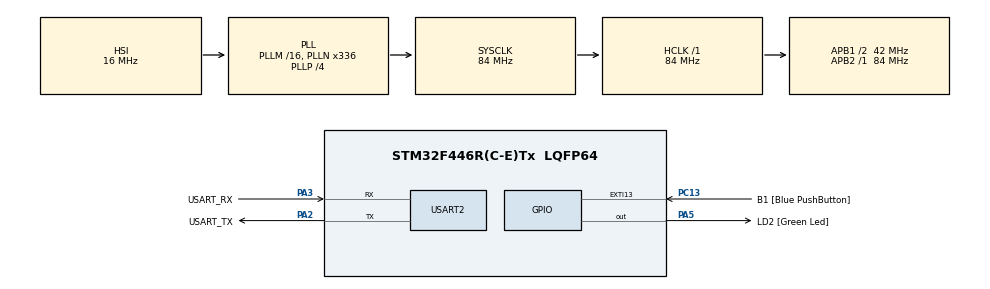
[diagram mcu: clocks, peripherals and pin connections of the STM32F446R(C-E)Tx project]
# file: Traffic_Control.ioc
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Mcu.Family=STM32F4
Mcu.Name=STM32F446R(C-E)Tx
Mcu.Package=LQFP64
NVIC.PriorityGroup=NVIC_PRIORITYGROUP_0
PA13.GPIO_Label=TMS
PA13.Mode=Serial_Wire
PA13.Signal=SYS_JTMS-SWDIO
PA14.GPIO_Label=TCK
PA14.Mode=Serial_Wire
PA14.Signal=SYS_JTCK-SWCLK
PA2.GPIO_Label=USART_TX
PA2.Mode=Asynchronous
PA2.Signal=USART2_TX
PA3.GPIO_Label=USART_RX
PA3.Mode=Asynchronous
PA3.Signal=USART2_RX
PA5.GPIO_Label=LD2 [Green Led]
PA5.Signal=GPIO_Output
PB3.GPIO_Label=SWO
PB3.Signal=SYS_JTDO-SWO
PC13.GPIO_Label=B1 [Blue PushButton]
PC13.GPIO_ModeDefaultEXTI=GPIO_MODE_IT_FALLING
PC13.Signal=GPXTI13
PC14-OSC32_IN.Mode=LSE-External-Oscillator
PC14-OSC32_IN.Signal=RCC_OSC32_IN
PC15-OSC32_OUT.Mode=LSE-External-Oscillator
PC15-OSC32_OUT.Signal=RCC_OSC32_OUT
PH0-OSC_IN.Mode=HSE-External-Oscillator
PH0-OSC_IN.Signal=RCC_OSC_IN
PH1-OSC_OUT.Mode=HSE-External-Oscillator
PH1-OSC_OUT.Signal=RCC_OSC_OUT
ProjectManager.HeapSize=0x200
ProjectManager.StackSize=0x400
ProjectManager.TargetToolchain=STM32CubeIDE
RCC.48MHZClocksFreq_Value=84000000
RCC.AHBFreq_Value=84000000
RCC.APB1CLKDivider=RCC_HCLK_DIV2
RCC.APB1Freq_Value=42000000
RCC.APB1TimFreq_Value=84000000
RCC.APB2Freq_Value=84000000
RCC.APB2TimFreq_Value=84000000
RCC.CortexFreq_Value=84000000
RCC.FLatency-AdvancedSettings=FLASH_LATENCY_2
RCC.HCLKFreq_Value=84000000
RCC.HSE_VALUE=8000000
RCC.HSI_VALUE=16000000
RCC.PLLN=336
RCC.PLLP=RCC_PLLP_DIV4
RCC.SYSCLKFreq_VALUE=84000000
RCC.SYSCLKSource=RCC_SYSCLKSOURCE_PLLCLK
RCC.USBFreq_Value=168000000
RCC.VCOOutputFreq_Value=336000000
USART2.VirtualMode=VM_ASYNC
board=NUCLEO-F446RE

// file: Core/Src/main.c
/* USER CODE BEGIN Header */
/**
  ******************************************************************************
  * @file           : main.c
  * @brief          : Main program body
  ******************************************************************************
  * @attention
  *
  * Copyright (c) 2025 STMicroelectronics.
  * All rights reserved.
  *
  * This software is licensed under terms that can be found in the LICENSE file
  * in the root directory of this software component.
  * If no LICENSE file comes with this software, it is provided AS-IS.
  *
  ******************************************************************************
  */
/* USER CODE END Header */
#include "main.h"
#include <stdbool.h>
#include <stm32f4xx.h>

UART_HandleTypeDef huart2;

void SystemClock_Config(void);
static void MX_GPIO_Init(void);
static void MX_USART2_UART_Init(void);

void TrafficLight_Control(void);
void Set_Lights_Direction(uint8_t Count, GPIO_PinState red, GPIO_PinState yellow, GPIO_PinState green);
void Light_Sequency(uint8_t Count, uint32_t GreenDelayTime);
/* USER CODE BEGIN PFP */
uint16_t redPins[4]    			= {TL_Pin_Red_1, TL_Pin_Red_2, TL_Pin_Red_3, TL_Pin_Red_4};
uint16_t yellowPins[4] 			= {TL_Pin_Yellow_1, TL_Pin_Yellow_2, TL_Pin_Yellow_3, TL_Pin_Yellow_4};
uint16_t greenPins[4]  			= {TL_Pin_Green_1, TL_Pin_Green_2, TL_Pin_Green_3, TL_Pin_Green_4};
uint16_t sensor1Pins[4] 		= {IR_Sensor1_Pin_1, IR_Sensor1_Pin_2, IR_Sensor1_Pin_3, IR_Sensor1_Pin_4};
uint16_t sensor2Pins[4] 		= {IR_Sensor2_Pin_1, IR_Sensor2_Pin_2, IR_Sensor2_Pin_3, IR_Sensor2_Pin_4};
uint8_t starvation[4] 			= {0, 0, 0, 0};          // For S, N, E, W
uint8_t starvationResetActive 	= 0;    // Flag for forced serve mode
uint32_t GreenDelayTime			= 0;
uint8_t Count					= 0;
uint8_t u8IRDetected		 	= 0;
uint8_t u8ActualCount			= 0;
bool bStarvation				= false;
uint8_t STARVATION_THRESHOLD 	= 3;
uint32_t u32LONGBLINKING	  	= 3000; //30000 in real case
uint32_t u32SHORTBLINKING	  	= 1500; //150000 in real case
uint32_t u32YellowDelayTime		= 2000;
/* USER CODE END PFP */

int main(void)
{

  /* MCU Configuration--------------------------------------------------------*/

  /* Reset of all peripherals, Initializes the Flash interface and the Systick. */
  HAL_Init();

  /* Configure the system clock */
  SystemClock_Config();

  /* Initialize all configured peripherals */
  MX_GPIO_Init();
  MX_USART2_UART_Init();

  /* Infinite loop */
  /* USER CODE BEGIN WHILE */
  while (1)
  {
	  TrafficLight_Control(); // run selected traffic light logic
  }

}
  /* USER CODE END 3 */

//////////////////////////////////////////////////////////////////////////////////////////////////////////
void Set_Lights_Direction(uint8_t Count, GPIO_PinState red, GPIO_PinState yellow, GPIO_PinState green)
{
	if(red == GPIO_PIN_RESET)
	{
		GPIOC->ODR &= ~redPins[Count];
	}
	else if(red == GPIO_PIN_SET)
	{
		GPIOC->ODR |= redPins[Count];
	}

	if(yellow == GPIO_PIN_RESET)
	{
		GPIOC->ODR &= ~yellowPins[Count];
	}
	else if(yellow == GPIO_PIN_SET)
	{
		GPIOC->ODR |= yellowPins[Count];
	}

	if(green == GPIO_PIN_RESET)
	{
		GPIOC->ODR &= ~greenPins[Count];
	}
	else if(green == GPIO_PIN_SET)
	{
		GPIOC->ODR |= greenPins[Count];
	}
}

void Light_Sequency(uint8_t Count, uint32_t GreenDelayTime)
{
	Set_Lights_Direction(Count, GPIO_PIN_RESET, GPIO_PIN_RESET, GPIO_PIN_RESET);
	Set_Lights_Direction(Count, GPIO_PIN_RESET, GPIO_PIN_RESET, GPIO_PIN_SET); // Green
	HAL_Delay(GreenDelayTime);

	Set_Lights_Direction(Count, GPIO_PIN_RESET, GPIO_PIN_SET, GPIO_PIN_RESET); // Yellow
	HAL_Delay(u32YellowDelayTime);

	Set_Lights_Direction(Count, GPIO_PIN_SET, GPIO_PIN_RESET, GPIO_PIN_RESET); // Red
	HAL_Delay(u32YellowDelayTime);

	starvation[Count] = starvation[Count] + 1;		// Increase starvation value for this direction
}

void TrafficLight_Control(void)
{
	GPIO_PinState s1 = GPIOB->IDR & sensor1Pins[Count];
	GPIO_PinState s2 = GPIOB->IDR & sensor2Pins[Count];

	if(bStarvation == true)
	{
		if(u8ActualCount == Count)
		{
			for (int i = 0; i < 4; i++)
			{
				starvation[i] = 0;
			}
			bStarvation = false;
		}
		else
		{
			if(s1 == GPIO_PIN_RESET && s2 == GPIO_PIN_RESET)
			{
				Light_Sequency(Count,u32LONGBLINKING);
			}

			else
			{
				Light_Sequency(Count,u32SHORTBLINKING);
			}
		}
	}
	else
	{
		// Check if at least one of first sensors is active
		for (int i = 0; i < 4; i++)
		{
			if ((GPIOB->IDR & sensor1Pins[i]) == GPIO_PIN_RESET ||
					(GPIOB->IDR & sensor2Pins[i]) == GPIO_PIN_RESET)
			{
				u8IRDetected = u8IRDetected + 1;
			}
		}

		// All first sensors inactive → simple 15s
		if (u8IRDetected == 0)
		{
			Light_Sequency(Count,u32SHORTBLINKING);
		}

//		else if (u8IRDetected == 4)
//		{
//			// All first sensors active → check second sensor
//			if (s2 == GPIO_PIN_RESET)
//			{
//				Light_Sequency(Count,u32LONGBLINKING);
//			}
//
//			else
//			{
//				Light_Sequency(Count,u32SHORTBLINKING);
//			}
//		}

		// Condition: 1–3 first sensors active
		else
		{
			if (s1 == GPIO_PIN_RESET && s2 == GPIO_PIN_RESET)
			{
				Light_Sequency(Count,u32LONGBLINKING);
				if(starvation[Count] >= STARVATION_THRESHOLD)
				{
					bStarvation = true;
					u8ActualCount = Count;
				}
			}

			else if (s1 == GPIO_PIN_RESET || s2 == GPIO_PIN_RESET)
			{

				Light_Sequency(Count,u32SHORTBLINKING);
				if(starvation[Count] >= STARVATION_THRESHOLD)
				{
					bStarvation = true;
					u8ActualCount = Count;
				}
			}
		}
	}
	u8IRDetected = 0; 	//Reset Input Reading
	Count = (Count + 1) % 4; // next direction
}
///////////////////////////////////////////////////////////////////////////////////////////////////////////////
void SystemClock_Config(void)
{
  RCC_OscInitTypeDef RCC_OscInitStruct = {0};
  RCC_ClkInitTypeDef RCC_ClkInitStruct = {0};

  /** Configure the main internal regulator output voltage
  */
  __HAL_RCC_PWR_CLK_ENABLE();
  __HAL_PWR_VOLTAGESCALING_CONFIG(PWR_REGULATOR_VOLTAGE_SCALE3);

  /** Initializes the RCC Oscillators according to the specified parameters
  * in the RCC_OscInitTypeDef structure.
  */
  RCC_OscInitStruct.OscillatorType = RCC_OSCILLATORTYPE_HSI;
  RCC_OscInitStruct.HSIState = RCC_HSI_ON;
  RCC_OscInitStruct.HSICalibrationValue = RCC_HSICALIBRATION_DEFAULT;
  RCC_OscInitStruct.PLL.PLLState = RCC_PLL_ON;
  RCC_OscInitStruct.PLL.PLLSource = RCC_PLLSOURCE_HSI;
  RCC_OscInitStruct.PLL.PLLM = 16;
  RCC_OscInitStruct.PLL.PLLN = 336;
  RCC_OscInitStruct.PLL.PLLP = RCC_PLLP_DIV4;
  RCC_OscInitStruct.PLL.PLLQ = 2;
  RCC_OscInitStruct.PLL.PLLR = 2;
  if (HAL_RCC_OscConfig(&RCC_OscInitStruct) != HAL_OK)
  {
    Error_Handler();
  }

  /** Initializes the CPU, AHB and APB buses clocks
  */
  RCC_ClkInitStruct.ClockType = RCC_CLOCKTYPE_HCLK|RCC_CLOCKTYPE_SYSCLK
                              |RCC_CLOCKTYPE_PCLK1|RCC_CLOCKTYPE_PCLK2;
  RCC_ClkInitStruct.SYSCLKSource = RCC_SYSCLKSOURCE_PLLCLK;
  RCC_ClkInitStruct.AHBCLKDivider = RCC_SYSCLK_DIV1;
  RCC_ClkInitStruct.APB1CLKDivider = RCC_HCLK_DIV2;
  RCC_ClkInitStruct.APB2CLKDivider = RCC_HCLK_DIV1;

  if (HAL_RCC_ClockConfig(&RCC_ClkInitStruct, FLASH_LATENCY_2) != HAL_OK)
  {
    Error_Handler();
  }
}

static void MX_USART2_UART_Init(void)
{

  huart2.Instance 			= USART2;
  huart2.Init.BaudRate 		= 115200;
  huart2.Init.WordLength 	= UART_WORDLENGTH_8B;
  huart2.Init.StopBits 		= UART_STOPBITS_1;
  huart2.Init.Parity 		= UART_PARITY_NONE;
  huart2.Init.Mode 			= UART_MODE_TX_RX;
  huart2.Init.HwFlowCtl		= UART_HWCONTROL_NONE;
  huart2.Init.OverSampling 	= UART_OVERSAMPLING_16;
  if (HAL_UART_Init(&huart2) != HAL_OK)
  {
    Error_Handler();
  }

}

static void MX_GPIO_Init(void)
{
  GPIO_InitTypeDef GPIO_InitStruct = {0};

  /* GPIO Ports Clock Enable */
  __HAL_RCC_GPIOC_CLK_ENABLE();
  __HAL_RCC_GPIOH_CLK_ENABLE();
  __HAL_RCC_GPIOA_CLK_ENABLE();
  __HAL_RCC_GPIOB_CLK_ENABLE();

  // Configure PC0 (Red), PA1 (Yellow), PA3 (Green) as Output
//  GPIO_InitStruct.Pin =		GPIO_PIN_0 | GPIO_PIN_1 | GPIO_PIN_2|
//		  	  	  	  	  	GPIO_PIN_3 | GPIO_PIN_4 | GPIO_PIN_5|
//							GPIO_PIN_6 | GPIO_PIN_7 | GPIO_PIN_8|
//							GPIO_PIN_9 | GPIO_PIN_10 | GPIO_PIN_11;
//  GPIO_InitStruct.Mode = GPIO_MODE_OUTPUT_PP;
//  GPIO_InitStruct.Pull = GPIO_NOPULL;
//  GPIO_InitStruct.Speed = GPIO_SPEED_FREQ_LOW;
//  HAL_GPIO_Init(GPIOC, &GPIO_InitStruct);
//
//  // Configure PB0 (Sensor) as Input
//  GPIO_InitStruct.Pin = 	GPIO_PIN_0|GPIO_PIN_1|GPIO_PIN_2|GPIO_PIN_3|
//					  	  	GPIO_PIN_4|GPIO_PIN_5|GPIO_PIN_6|GPIO_PIN_7;
//  GPIO_InitStruct.Mode = GPIO_MODE_INPUT;
//  GPIO_InitStruct.Pull = GPIO_PULLUP;  // For push-button. If using IR sensor, adjust as needed.
//  HAL_GPIO_Init(GPIOB, &GPIO_InitStruct);

  // Enable GPIOB and GPIOC clocks
  RCC->AHB1ENR |= RCC_AHB1ENR_GPIOBEN | RCC_AHB1ENR_GPIOCEN; // RCC->AHB1ENR |= (1 << 1) | (1 << 2);

  // Set PC0–PC11 as output, push-pull, no-pull
  GPIOC->MODER  |=  0x555555;       // Set to output mode (01)
  GPIOC->OTYPER &= ~(0x0FFF);       // Push-pull (0)
  GPIOC->PUPDR  &= ~(0xFFFFFF);     // No pull-up/down (00)

  // Set PB0–PB7 as input with pull-up
  GPIOB->MODER &= ~(0xFFFF);        // Input mode (00)
  GPIOB->PUPDR &= ~(0xFFFF);        // Clear PUPDR
  GPIOB->PUPDR |=  0x5555;          // Set pull-up (01)

  GPIOC->ODR |= GPIO_PIN_0;			// TL_Pin_Red_1
  GPIOC->ODR |= GPIO_PIN_3;			// TL_Pin_Red_2
  GPIOC->ODR |= GPIO_PIN_6;			// TL_Pin_Red_3
  GPIOC->ODR |= GPIO_PIN_9;			// TL_Pin_Red_4
  GPIOC->ODR &= ~GPIO_PIN_1;		// TL_Pin_Yellow_1
  GPIOC->ODR &= ~GPIO_PIN_4;		// TL_Pin_Yellow_2
  GPIOC->ODR &= ~GPIO_PIN_7;		// TL_Pin_Yellow_3
  GPIOC->ODR &= ~GPIO_PIN_10;		// TL_Pin_Yellow_4
  GPIOC->ODR &= ~GPIO_PIN_2;		// TL_Pin_Green_1
  GPIOC->ODR &= ~GPIO_PIN_5;		// TL_Pin_Green_2
  GPIOC->ODR &= ~GPIO_PIN_8;		// TL_Pin_Green_3
  GPIOC->ODR &= ~GPIO_PIN_11;		// TL_Pin_Green_4
//  HAL_GPIO_WritePin(TL_GPIO_Port, TL_Pin_Red_1, GPIO_PIN_SET);
//  HAL_GPIO_WritePin(TL_GPIO_Port, TL_Pin_Red_2, GPIO_PIN_SET);
//  HAL_GPIO_WritePin(TL_GPIO_Port, TL_Pin_Red_3, GPIO_PIN_SET);
//  HAL_GPIO_WritePin(TL_GPIO_Port, TL_Pin_Red_4, GPIO_PIN_SET);
//  HAL_GPIO_WritePin(TL_GPIO_Port, TL_Pin_Yellow_1, GPIO_PIN_RESET);
//  HAL_GPIO_WritePin(TL_GPIO_Port, TL_Pin_Yellow_2, GPIO_PIN_RESET);
//  HAL_GPIO_WritePin(TL_GPIO_Port, TL_Pin_Yellow_3, GPIO_PIN_RESET);
//  HAL_GPIO_WritePin(TL_GPIO_Port, TL_Pin_Yellow_4, GPIO_PIN_RESET);
//  HAL_GPIO_WritePin(TL_GPIO_Port, TL_Pin_Green_1, GPIO_PIN_RESET);
//  HAL_GPIO_WritePin(TL_GPIO_Port, TL_Pin_Green_2, GPIO_PIN_RESET);
//  HAL_GPIO_WritePin(TL_GPIO_Port, TL_Pin_Green_3, GPIO_PIN_RESET);
//  HAL_GPIO_WritePin(TL_GPIO_Port, TL_Pin_Green_4, GPIO_PIN_RESET);

  /*Configure GPIO pin Output Level */
  HAL_GPIO_WritePin(LD2_GPIO_Port, LD2_Pin, GPIO_PIN_RESET);

  /*Configure GPIO pin : B1_Pin */
  GPIO_InitStruct.Pin = B1_Pin;
  GPIO_InitStruct.Mode = GPIO_MODE_IT_FALLING;
  GPIO_InitStruct.Pull = GPIO_NOPULL;
  HAL_GPIO_Init(B1_GPIO_Port, &GPIO_InitStruct);

  /*Configure GPIO pin : LD2_Pin */
  GPIO_InitStruct.Pin = LD2_Pin;
  GPIO_InitStruct.Mode = GPIO_MODE_OUTPUT_PP;
  GPIO_InitStruct.Pull = GPIO_NOPULL;
  GPIO_InitStruct.Speed = GPIO_SPEED_FREQ_LOW;
  HAL_GPIO_Init(LD2_GPIO_Port, &GPIO_InitStruct);

}

void Error_Handler(void)
{
  __disable_irq();
  while (1)
  {
  }
}
